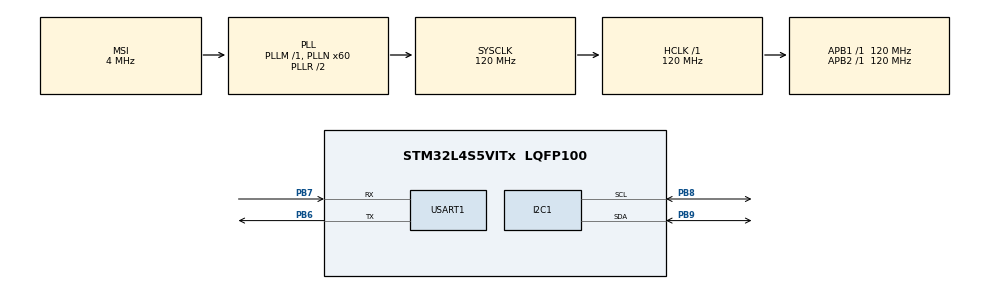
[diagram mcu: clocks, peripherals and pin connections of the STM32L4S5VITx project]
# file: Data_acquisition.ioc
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I2C1.Timing=0x30A175AB
Mcu.Family=STM32L4
Mcu.Name=STM32L4S5VITx
Mcu.Package=LQFP100
NVIC.PriorityGroup=NVIC_PRIORITYGROUP_4
PB6.Mode=Asynchronous
PB6.Signal=USART1_TX
PB7.Mode=Asynchronous
PB7.Signal=USART1_RX
PB8.Mode=I2C
PB8.Signal=I2C1_SCL
PB9.Mode=I2C
PB9.Signal=I2C1_SDA
ProjectManager.HeapSize=0x200
ProjectManager.StackSize=0x400
ProjectManager.TargetToolchain=STM32CubeIDE
RCC.ADCFreq_Value=48000000
RCC.AHBFreq_Value=120000000
RCC.APB1Freq_Value=120000000
RCC.APB1TimFreq_Value=120000000
RCC.APB2Freq_Value=120000000
RCC.APB2TimFreq_Value=120000000
RCC.CortexFreq_Value=120000000
RCC.HCLKFreq_Value=120000000
RCC.HSE_VALUE=8000000
RCC.HSI48_VALUE=48000000
RCC.HSI_VALUE=16000000
RCC.MSI_VALUE=4000000
RCC.PLLN=60
RCC.PLLSAI1N=24
RCC.SYSCLKFreq_VALUE=120000000
RCC.SYSCLKSource=RCC_SYSCLKSOURCE_PLLCLK
RCC.USBFreq_Value=48000000
RCC.VCOOutputFreq_Value=240000000
USART1.VirtualMode-Asynchronous=VM_ASYNC
board=B-L4S5I-IOT01A

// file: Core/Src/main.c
                                              /* USER CODE BEGIN Header */
/**
  ******************************************************************************
  * @file           : main.c
  * @brief          : Main program body
  ******************************************************************************
  * @attention
  *
  * Copyright (c) 2026 STMicroelectronics.
  * All rights reserved.
  *
  * This software is licensed under terms that can be found in the LICENSE file
  * in the root directory of this software component.
  * If no LICENSE file comes with this software, it is provided AS-IS.
  *
  ******************************************************************************
  */
/* USER CODE END Header */
#include "main.h"

/* USER CODE BEGIN Includes */
#include "mpu.h"
#include "stdio.h"
#include "string.h"
/* USER CODE END Includes */

I2C_HandleTypeDef hi2c1;

UART_HandleTypeDef huart1;

void SystemClock_Config(void);
static void MX_GPIO_Init(void);
static void MX_I2C1_Init(void);
static void MX_USART1_UART_Init(void);

int main(void)
{

  /* MCU Configuration--------------------------------------------------------*/

  /* Reset of all peripherals, Initializes the Flash interface and the Systick. */
  HAL_Init();

  /* Configure the system clock */
  SystemClock_Config();

  /* Initialize all configured peripherals */
  MX_GPIO_Init();
  MX_I2C1_Init();
  MX_USART1_UART_Init();
  /* USER CODE BEGIN 2 */
  MPU6050_Init();
  HAL_Delay(1000);
  /* USER CODE END 2 */

  /* Infinite loop */
  while (1)
  {

    /* USER CODE BEGIN 3 */
	MPU6050_Read_Accel(accel_data);
	MPU6050_Read_Gyro(gyro_data);
//	printf("Accelerometer Data: %.2f %.2f %.2f \r\n", Ax, Ay, Az);
//	HAL_Delay(300);
//	printf("Gyroscope Data: %.2f %.2f %.2f \r\n", Gx, Gy, Gz);
//	HAL_Delay(300);

	printf("%.3f,%.3f,%.3f,%.3f,%.3f,%.3f\r\n",
	       Ax,
	       Ay,
	       Az,
	       Gx,
	       Gy,
	       Gz);
	HAL_Delay(20);
  }
  /* USER CODE END 3 */
}

void SystemClock_Config(void)
{
  RCC_OscInitTypeDef RCC_OscInitStruct = {0};
  RCC_ClkInitTypeDef RCC_ClkInitStruct = {0};

  /** Configure the main internal regulator output voltage
  */
  if (HAL_PWREx_ControlVoltageScaling(PWR_REGULATOR_VOLTAGE_SCALE1_BOOST) != HAL_OK)
  {
    Error_Handler();
  }

  /** Initializes the RCC Oscillators according to the specified parameters
  * in the RCC_OscInitTypeDef structure.
  */
  RCC_OscInitStruct.OscillatorType = RCC_OSCILLATORTYPE_MSI;
  RCC_OscInitStruct.MSIState = RCC_MSI_ON;
  RCC_OscInitStruct.MSICalibrationValue = 0;
  RCC_OscInitStruct.MSIClockRange = RCC_MSIRANGE_6;
  RCC_OscInitStruct.PLL.PLLState = RCC_PLL_ON;
  RCC_OscInitStruct.PLL.PLLSource = RCC_PLLSOURCE_MSI;
  RCC_OscInitStruct.PLL.PLLM = 1;
  RCC_OscInitStruct.PLL.PLLN = 60;
  RCC_OscInitStruct.PLL.PLLP = RCC_PLLP_DIV2;
  RCC_OscInitStruct.PLL.PLLQ = RCC_PLLQ_DIV2;
  RCC_OscInitStruct.PLL.PLLR = RCC_PLLR_DIV2;
  if (HAL_RCC_OscConfig(&RCC_OscInitStruct) != HAL_OK)
  {
    Error_Handler();
  }

  /** Initializes the CPU, AHB and APB buses clocks
  */
  RCC_ClkInitStruct.ClockType = RCC_CLOCKTYPE_HCLK|RCC_CLOCKTYPE_SYSCLK
                              |RCC_CLOCKTYPE_PCLK1|RCC_CLOCKTYPE_PCLK2;
  RCC_ClkInitStruct.SYSCLKSource = RCC_SYSCLKSOURCE_PLLCLK;
  RCC_ClkInitStruct.AHBCLKDivider = RCC_SYSCLK_DIV1;
  RCC_ClkInitStruct.APB1CLKDivider = RCC_HCLK_DIV1;
  RCC_ClkInitStruct.APB2CLKDivider = RCC_HCLK_DIV1;

  if (HAL_RCC_ClockConfig(&RCC_ClkInitStruct, FLASH_LATENCY_5) != HAL_OK)
  {
    Error_Handler();
  }
}

static void MX_I2C1_Init(void)
{

  hi2c1.Instance = I2C1;
  hi2c1.Init.Timing = 0x30A175AB;
  hi2c1.Init.OwnAddress1 = 0;
  hi2c1.Init.AddressingMode = I2C_ADDRESSINGMODE_7BIT;
  hi2c1.Init.DualAddressMode = I2C_DUALADDRESS_DISABLE;
  hi2c1.Init.OwnAddress2 = 0;
  hi2c1.Init.OwnAddress2Masks = I2C_OA2_NOMASK;
  hi2c1.Init.GeneralCallMode = I2C_GENERALCALL_DISABLE;
  hi2c1.Init.NoStretchMode = I2C_NOSTRETCH_DISABLE;
  if (HAL_I2C_Init(&hi2c1) != HAL_OK)
  {
    Error_Handler();
  }

  /** Configure Analogue filter
  */
  if (HAL_I2CEx_ConfigAnalogFilter(&hi2c1, I2C_ANALOGFILTER_ENABLE) != HAL_OK)
  {
    Error_Handler();
  }

  /** Configure Digital filter
  */
  if (HAL_I2CEx_ConfigDigitalFilter(&hi2c1, 0) != HAL_OK)
  {
    Error_Handler();
  }

}

static void MX_USART1_UART_Init(void)
{

  huart1.Instance = USART1;
  huart1.Init.BaudRate = 115200;
  huart1.Init.WordLength = UART_WORDLENGTH_8B;
  huart1.Init.StopBits = UART_STOPBITS_1;
  huart1.Init.Parity = UART_PARITY_NONE;
  huart1.Init.Mode = UART_MODE_TX_RX;
  huart1.Init.HwFlowCtl = UART_HWCONTROL_NONE;
  huart1.Init.OverSampling = UART_OVERSAMPLING_16;
  huart1.Init.OneBitSampling = UART_ONE_BIT_SAMPLE_DISABLE;
  huart1.Init.ClockPrescaler = UART_PRESCALER_DIV1;
  huart1.AdvancedInit.AdvFeatureInit = UART_ADVFEATURE_NO_INIT;
  if (HAL_UART_Init(&huart1) != HAL_OK)
  {
    Error_Handler();
  }
  if (HAL_UARTEx_SetTxFifoThreshold(&huart1, UART_TXFIFO_THRESHOLD_1_8) != HAL_OK)
  {
    Error_Handler();
  }
  if (HAL_UARTEx_SetRxFifoThreshold(&huart1, UART_RXFIFO_THRESHOLD_1_8) != HAL_OK)
  {
    Error_Handler();
  }
  if (HAL_UARTEx_DisableFifoMode(&huart1) != HAL_OK)
  {
    Error_Handler();
  }

}

static void MX_GPIO_Init(void)
{

  /* GPIO Ports Clock Enable */
  __HAL_RCC_GPIOB_CLK_ENABLE();

}

/* USER CODE BEGIN 4 */
int _write(int file, char *ptr, int len)
{
	HAL_UART_Transmit(&huart1,(uint8_t *)ptr,len,HAL_MAX_DELAY);
}
/*
/*USER CODE END 4 */

void Error_Handler(void)
{
  __disable_irq();
  while (1)
  {
  }
}
